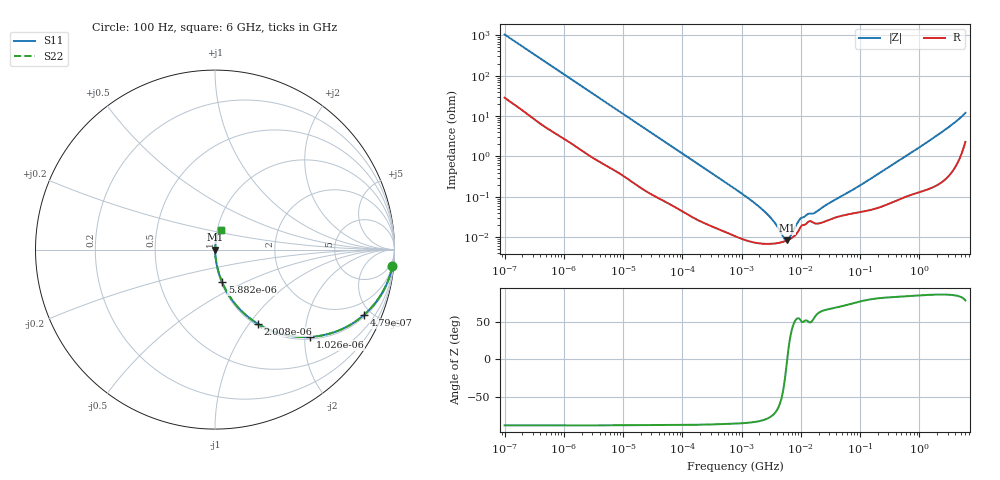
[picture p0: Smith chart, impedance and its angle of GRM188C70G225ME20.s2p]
!Murata Part Number: GRM188C70G225ME20
!These Parameters are Measured in Series Mode Connection
!Data Generated on Mar 30, 2021
!  o--ll--o
!Port1  Port2
!  o------o
!Operation Temp=25[degC], DC Bias Voltage=0[V]
!Freq. Start=100[Hz] Stop=6[GHz] 401[Steps]
# Hz S RI R 50
!Freq.(Hz) S11(Real) S11(Imag) S21(Real) S21(Imag) S12(Real) S12(Imag) S22(Real) S22(Imag)
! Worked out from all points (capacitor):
!   401 points, 100 Hz to 6 GHz, reference 50 ohm
!   read as one part in series: C = 1.51 uF near 109 Hz
!   lowest |Z| = 8.3 mohm at 5.809 MHz (marker M1)
!   series resonance near 5.897 MHz, so ESL is about 480 pH
!   S11 on the Smith chart (normalised r, x): 100 Hz: 2, -21; 479 Hz: 1.11, -4.49; 1.026 kHz: 1.05, -2.12; 2.008 kHz: 1.03, -1.10; 5.882 kHz: 1.01, -0.38; 6 GHz: 1.05, +0.24
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100  0.9885 -0.0938  0.0115 0.0938  0.0115 0.0938  0.9885 -0.0938
245  0.9451 -0.2155  0.0549 0.2155  0.0549 0.2155  0.9451 -0.2155
479  0.8289 -0.3648  0.1711 0.3648  0.1711 0.3648  0.8289 -0.3648
1026  0.5292 -0.4866  0.4708 0.4866  0.4708 0.4866  0.5292 -0.4866
2008  0.237 -0.4127  0.763 0.4127  0.763 0.4127  0.237 -0.4127
3287  0.1085 -0.2983  0.8915 0.2983  0.8915 0.2983  0.1085 -0.2983
5882  0.0397 -0.1818  0.9603 0.1818  0.9603 0.1818  0.0397 -0.1818
13772  0.00914 -0.0817  0.9909 0.0817  0.9909 0.0817  0.00914 -0.0817
40335  0.00173 -0.0287  0.9983 0.0287  0.9983 0.0287  0.00173 -0.0287
774597  0.000108 -0.00157  0.9999 0.00157  0.9999 0.00157  0.000108 -0.00157
2372521  6.87e-05 -0.000445  0.9999 0.000445  0.9999 0.000445  6.87e-05 -0.000445
3549919  6.95e-05 -0.000227  0.9999 0.000227  0.9999 0.000227  6.95e-05 -0.000227
4856642  7.56e-05 -8.42e-05  0.9999 8.42e-05  0.9999 8.42e-05  7.56e-05 -8.42e-05
5809218  8.27e-05 -6.4e-06  0.9999 6.4e-06  0.9999 6.4e-06  8.27e-05 -6.4e-06
6948629  9.44e-05 7.27e-05  0.9999 -7.27e-05  0.9999 -7.27e-05  9.44e-05 7.27e-05
8692127  0.000127 0.000179  0.9999 -0.000179  0.9999 -0.000179  0.000127 0.000179
9941735  0.000179 0.000232  0.9998 -0.000232  0.9998 -0.000232  0.000179 0.000232
1.300572e7  0.000232 0.000289  0.9998 -0.000289  0.9998 -0.000289  0.000232 0.000289
1.555665e7  0.000238 0.000298  0.9998 -0.000298  0.9998 -0.000298  0.000238 0.000298
3.124326e8  0.000709 0.00553  0.9993 -0.00553  0.9993 -0.00553  0.000709 0.00553
2.048624e9  0.00313 0.0339  0.9969 -0.0339  0.9969 -0.0339  0.00313 0.0339
6e9  0.0353 0.1112  0.9647 -0.1112  0.9647 -0.1112  0.0353 0.1112
